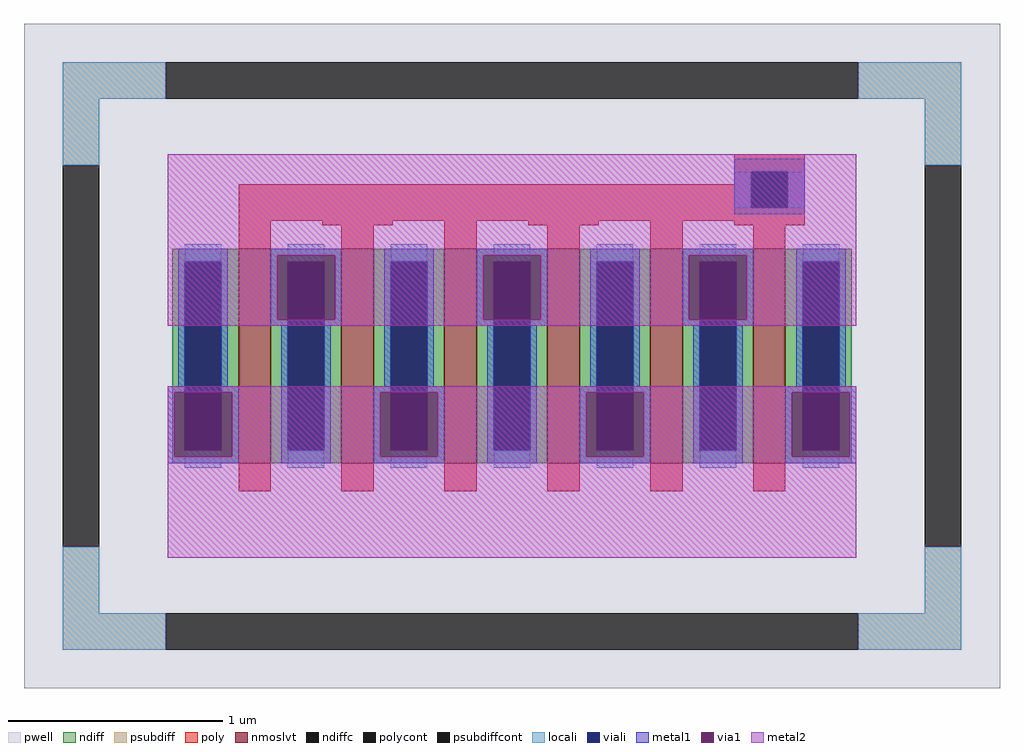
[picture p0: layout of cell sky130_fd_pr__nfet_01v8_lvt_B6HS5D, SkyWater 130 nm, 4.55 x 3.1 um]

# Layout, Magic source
magic
tech sky130A
<< pwell >>
rect -228 -155 227 155
<< nmoslvt >>
rect -128 -50 -113 50
rect -80 -50 -65 50
rect -32 -50 -17 50
rect 16 -50 31 50
rect 64 -50 79 50
rect 112 -50 127 50
<< ndiff >>
rect -159 44 -128 50
rect -159 -44 -153 44
rect -136 -44 -128 44
rect -159 -50 -128 -44
rect -113 44 -80 50
rect -113 -44 -105 44
rect -88 -44 -80 44
rect -113 -50 -80 -44
rect -65 44 -32 50
rect -65 -44 -57 44
rect -40 -44 -32 44
rect -65 -50 -32 -44
rect -17 44 16 50
rect -17 -44 -9 44
rect 8 -44 16 44
rect -17 -50 16 -44
rect 31 44 64 50
rect 31 -44 39 44
rect 56 -44 64 44
rect 31 -50 64 -44
rect 79 44 112 50
rect 79 -44 87 44
rect 104 -44 112 44
rect 79 -50 112 -44
rect 127 44 158 50
rect 127 -44 135 44
rect 152 -44 158 44
rect 127 -50 158 -44
<< ndiffc >>
rect -153 -44 -136 44
rect -105 -44 -88 44
rect -57 -44 -40 44
rect -9 -44 8 44
rect 39 -44 56 44
rect 87 -44 104 44
rect 135 -44 152 44
<< psubdiff >>
rect -210 120 -162 137
rect 161 120 209 137
rect -210 89 -193 120
rect 192 89 209 120
rect -210 -120 -193 -89
rect 192 -120 209 -89
rect -210 -137 -162 -120
rect 161 -137 209 -120
<< psubdiffcont >>
rect -162 120 161 137
rect -210 -89 -193 89
rect 192 -89 209 89
rect -162 -137 161 -120
<< poly >>
rect 103 86 136 94
rect 103 80 111 86
rect -128 69 111 80
rect 128 69 136 86
rect -128 63 136 69
rect -128 50 -113 63
rect -89 61 -56 63
rect -80 50 -65 61
rect -32 50 -17 63
rect 7 61 40 63
rect 16 50 31 61
rect 64 50 79 63
rect 103 61 136 63
rect 112 50 127 61
rect -128 -63 -113 -50
rect -80 -63 -65 -50
rect -32 -63 -17 -50
rect 16 -63 31 -50
rect 64 -63 79 -50
rect 112 -63 127 -50
<< polycont >>
rect 111 69 128 86
<< locali >>
rect -210 120 -162 137
rect 161 120 209 137
rect -210 89 -193 120
rect 192 89 209 120
rect 103 69 111 86
rect 128 69 136 86
rect -153 44 -136 52
rect -153 -52 -136 -44
rect -105 44 -88 52
rect -105 -52 -88 -44
rect -57 44 -40 52
rect -57 -52 -40 -44
rect -9 44 8 52
rect -9 -52 8 -44
rect 39 44 56 52
rect 39 -52 56 -44
rect 87 44 104 52
rect 87 -52 104 -44
rect 135 44 152 52
rect 135 -52 152 -44
rect -210 -120 -193 -89
rect 192 -120 209 -89
rect -210 -137 -162 -120
rect 161 -137 209 -120
<< viali >>
rect 111 69 128 86
rect -153 -44 -136 44
rect -105 -44 -88 44
rect -57 -44 -40 44
rect -9 -44 8 44
rect 39 -44 56 44
rect 87 -44 104 44
rect 135 -44 152 44
<< metal1 >>
rect 103 86 136 92
rect 103 69 111 86
rect 128 69 136 86
rect 103 66 136 69
rect -156 44 -133 50
rect -156 -14 -153 44
rect -161 -17 -153 -14
rect -136 -14 -133 44
rect -113 47 -80 50
rect -113 17 -110 47
rect -83 17 -80 47
rect -113 14 -105 17
rect -136 -17 -128 -14
rect -161 -47 -158 -17
rect -131 -47 -128 -17
rect -161 -50 -128 -47
rect -108 -44 -105 14
rect -88 14 -80 17
rect -60 44 -37 50
rect -88 -44 -85 14
rect -60 -14 -57 44
rect -108 -50 -85 -44
rect -65 -17 -57 -14
rect -40 -14 -37 44
rect -17 47 16 50
rect -17 17 -14 47
rect 13 17 16 47
rect -17 14 -9 17
rect -40 -17 -32 -14
rect -65 -47 -62 -17
rect -35 -47 -32 -17
rect -65 -50 -32 -47
rect -12 -44 -9 14
rect 8 14 16 17
rect 36 44 59 50
rect 8 -44 11 14
rect 36 -14 39 44
rect -12 -50 11 -44
rect 31 -17 39 -14
rect 56 -14 59 44
rect 79 47 112 50
rect 79 17 82 47
rect 109 17 112 47
rect 79 14 87 17
rect 56 -17 64 -14
rect 31 -47 34 -17
rect 61 -47 64 -17
rect 31 -50 64 -47
rect 84 -44 87 14
rect 104 14 112 17
rect 132 44 155 50
rect 104 -44 107 14
rect 132 -14 135 44
rect 84 -50 107 -44
rect 127 -17 135 -14
rect 152 -14 155 44
rect 152 -17 160 -14
rect 127 -47 130 -17
rect 157 -47 160 -17
rect 127 -50 160 -47
<< via1 >>
rect -110 44 -83 47
rect -110 17 -105 44
rect -105 17 -88 44
rect -88 17 -83 44
rect -158 -44 -153 -17
rect -153 -44 -136 -17
rect -136 -44 -131 -17
rect -158 -47 -131 -44
rect -14 44 13 47
rect -14 17 -9 44
rect -9 17 8 44
rect 8 17 13 44
rect -62 -44 -57 -17
rect -57 -44 -40 -17
rect -40 -44 -35 -17
rect -62 -47 -35 -44
rect 82 44 109 47
rect 82 17 87 44
rect 87 17 104 44
rect 104 17 109 44
rect 34 -44 39 -17
rect 39 -44 56 -17
rect 56 -44 61 -17
rect 34 -47 61 -44
rect 130 -44 135 -17
rect 135 -44 152 -17
rect 152 -44 157 -17
rect 130 -47 157 -44
<< metal2 >>
rect -161 47 160 94
rect -161 17 -110 47
rect -83 17 -14 47
rect 13 17 82 47
rect 109 17 160 47
rect -161 14 160 17
rect -161 -17 160 -14
rect -161 -47 -158 -17
rect -131 -47 -62 -17
rect -35 -47 34 -17
rect 61 -47 130 -17
rect 157 -47 160 -17
rect -161 -94 160 -47
<< properties >>
string FIXED_BBOX -201 -128 201 128
string gencell sky130_fd_pr__nfet_01v8_lvt
string library sky130
string parameters w 1.0 l 0.15 m 1 nf 6 diffcov 100 polycov 100 guard 1 glc 1 grc 1 gtc 1 gbc 1 tbcov 100 rlcov 100 topc 1 botc 1 poverlap 0 doverlap 1 lmin 0.15 wmin 0.42 compatible {sky130_fd_pr__nfet_01v8 sky130_fd_pr__nfet_01v8_lvt  sky130_fd_bs_flash__special_sonosfet_star  sky130_fd_pr__nfet_g5v0d10v5 sky130_fd_pr__nfet_05v0_nvt  sky130_fd_pr__nfet_03v3_nvt} full_metal 1 viasrc 100 viadrn 100 viagate 100 viagb 0 viagr 0 viagl 0 viagt 0
<< end >>
